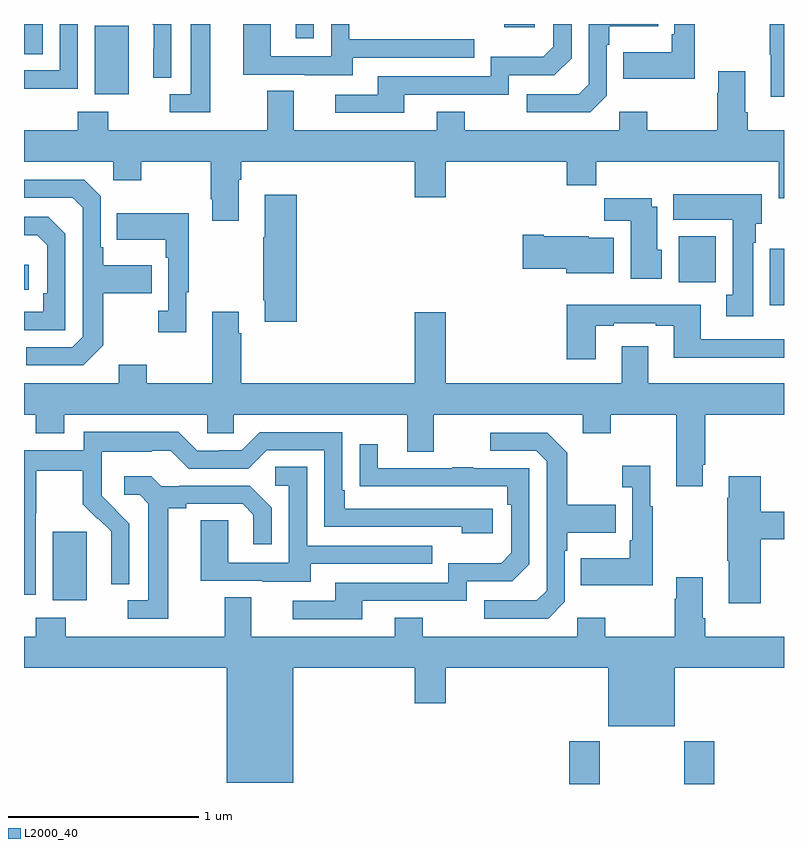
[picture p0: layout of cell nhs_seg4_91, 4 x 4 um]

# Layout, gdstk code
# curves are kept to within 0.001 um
import gdstk
lib = gdstk.Library(unit=1e-6, precision=1e-09)
def R(c, l, rs):  # rectangles x0, y0, x1, y1
    for r in rs: c.add(gdstk.rectangle(r[:2], r[2:], *l))
def P(c, l, *ps):  # polygons
    for p in ps: c.add(gdstk.Polygon(p, *l))
L2000_40 = (2000, 40)

nhs_seg4_91 = lib.new_cell('nhs_seg4_91')
R(nhs_seg4_91, L2000_40, [(117.869,770.9,118.029,771.124), (118.474,770.9,118.634,771.124), (115.151,771.866,115.33,772.227), (118.925,773.42,119,773.716), (115,773.502,115.024,773.632), (118.445,773.54,118.642,773.782), (115.373,774.53,115.552,774.891), (115,774.742,115.099,774.9), (116.429,774.825,116.526,774.9), (117.527,774.884,117.688,774.9)])
P(nhs_seg4_91, L2000_40, [(116.731,774.723),(117.371,774.723),(117.371,774.819),(116.712,774.819),(116.712,774.9),(116.616,774.9),(116.616,774.729),(116.298,774.729),(116.298,774.9),(116.153,774.9),(116.153,774.633),(116.477,774.633),(116.477,774.629),(116.731,774.629)],
  [(118.068,774.522),(118.068,774.791),(118.081,774.791),(118.081,774.887),(118.337,774.887),(118.337,774.9),(117.972,774.9),(117.972,774.582),(117.921,774.531),(117.645,774.531),(117.645,774.435),(117.981,774.435)],
  [(118.531,774.9),(118.422,774.9),(118.422,774.847),(118.41,774.847),(118.41,774.751),(118.153,774.751),(118.153,774.611),(118.531,774.611)],
  [(119,774.9),(118.924,774.9),(118.924,774.739),(118.931,774.739),(118.931,774.516),(119,774.516)],
  [(117.001,774.528),(117.552,774.528),(117.552,774.63),(117.792,774.63),(117.882,774.72),(117.882,774.9),(117.786,774.9),(117.786,774.78),(117.733,774.727),(117.456,774.727),(117.456,774.624),(116.861,774.624),(116.861,774.528),(116.637,774.528),(116.637,774.432),(117.001,774.432)],
  [(115.981,774.9),(115.877,774.9),(115.877,774.531),(115.767,774.531),(115.767,774.435),(115.981,774.435)],
  [(115.284,774.9),(115.188,774.9),(115.188,774.657),(115,774.657),(115,774.559),(115.284,774.559)],
  [(115.776,774.9),(115.675,774.9),(115.682,774.893),(115.682,774.77),(115.68,774.77),(115.68,774.616),(115.776,774.616)],
  [(116.131,774.08),(116.144,774.08),(116.144,774.176),(117.056,774.176),(117.056,773.988),(117.22,773.988),(117.22,774.176),(117.857,774.176),(117.857,774.052),(118.013,774.052),(118.013,774.176),(118.973,774.176),(118.973,773.982),(119,773.982),(119,774.34),(118.808,774.34),(118.808,774.436),(118.795,774.436),(118.795,774.652),(118.655,774.652),(118.655,774.539),(118.648,774.539),(118.648,774.34),(118.281,774.34),(118.281,774.439),(118.134,774.439),(118.134,774.34),(117.321,774.34),(117.321,774.439),(117.173,774.439),(117.173,774.34),(116.419,774.34),(116.419,774.548),(116.279,774.548),(116.279,774.34),(115.443,774.34),(115.443,774.439),(115.283,774.439),(115.283,774.34),(115,774.34),(115,774.176),(115.47,774.176),(115.47,774.077),(115.617,774.077),(115.617,774.176),(115.984,774.176),(115.984,773.977),(115.991,773.977),(115.991,773.865),(116.131,773.865)],
  [(115.417,773.209),(115.417,773.482),(115.673,773.482),(115.673,773.629),(115.417,773.629),(115.417,773.725),(115.404,773.725),(115.404,773.994),(115.317,774.081),(115,774.081),(115,773.985),(115.257,773.985),(115.308,773.934),(115.308,773.253),(115.254,773.199),(115.011,773.199),(115.011,773.103),(115.311,773.103)],
  [(118.837,773.75),(118.852,773.75),(118.852,773.85),(118.882,773.85),(118.882,774.004),(118.418,774.004),(118.418,773.87),(118.73,773.87),(118.73,773.474),(118.697,773.474),(118.697,773.361),(118.837,773.361)],
  [(116.435,774.001),(116.267,774.001),(116.267,773.777),(116.26,773.777),(116.26,773.446),(116.267,773.446),(116.267,773.334),(116.435,773.334)],
  [(118.357,773.712),(118.333,773.712),(118.333,773.938),(118.303,773.938),(118.303,773.983),(118.054,773.983),(118.054,773.864),(118.193,773.864),(118.193,773.558),(118.357,773.558)],
  [(115.855,773.489),(115.867,773.489),(115.867,773.905),(115.489,773.905),(115.489,773.765),(115.746,773.765),(115.746,773.669),(115.758,773.669),(115.758,773.39),(115.707,773.39),(115.707,773.277),(115.855,773.277)],
  [(115.218,773.796),(115.128,773.886),(115,773.886),(115,773.789),(115.069,773.789),(115.122,773.736),(115.122,773.482),(115.102,773.482),(115.102,773.385),(115,773.385),(115,773.289),(115.218,773.289)],
  [(118.105,773.776),(117.972,773.776),(117.972,773.782),(117.736,773.782),(117.736,773.79),(117.624,773.79),(117.624,773.612),(117.854,773.612),(117.854,773.588),(118.105,773.588)],
  [(118.009,773.313),(118.105,773.313),(118.105,773.325),(118.325,773.325),(118.325,773.313),(118.421,773.313),(118.421,773.144),(119,773.144),(119,773.241),(118.561,773.241),(118.561,773.422),(117.857,773.422),(117.857,773.136),(118.009,773.136)],
  [(118.573,772.579),(118.586,772.579),(118.586,772.844),(119,772.844),(119,773.008),(118.285,773.008),(118.285,773.203),(118.145,773.203),(118.145,773.008),(117.22,773.008),(117.22,773.383),(117.056,773.383),(117.056,773.008),(116.144,773.008),(116.144,773.273),(116.131,773.273),(116.131,773.386),(115.991,773.386),(115.991,773.008),(115.647,773.008),(115.647,773.107),(115.499,773.107),(115.499,773.008),(115,773.008),(115,772.844),(115.061,772.844),(115.061,772.745),(115.213,772.745),(115.213,772.844),(115.965,772.844),(115.965,772.746),(116.103,772.746),(116.103,772.844),(117.017,772.844),(117.017,772.65),(117.157,772.65),(117.157,772.844),(117.941,772.844),(117.941,772.745),(118.089,772.745),(118.089,772.844),(118.433,772.844),(118.433,772.467),(118.573,772.467)],
  [(115.062,772.324),(115.065,772.324),(115.065,772.548),(115.309,772.548),(115.309,772.373),(115.386,772.296),(115.389,772.299),(115.46,772.229),(115.46,772.106),(115.458,772.106),(115.458,771.952),(115.554,771.952),(115.554,772.27),(115.408,772.418),(115.408,772.515),(115.41,772.515),(115.41,772.649),(115.673,772.649),(115.673,772.653),(115.773,772.653),(115.866,772.56),(116.181,772.56),(116.277,772.656),(116.58,772.656),(116.58,772.254),(117.305,772.254),(117.305,772.22),(117.466,772.22),(117.466,772.35),(116.689,772.35),(116.689,772.447),(116.676,772.447),(116.676,772.752),(116.241,772.752),(116.145,772.656),(116.027,772.656),(116.027,772.653),(115.911,772.653),(115.811,772.753),(115.314,772.753),(115.314,772.656),(115,772.656),(115,771.895),(115.062,771.895)],
  [(117.846,771.858),(117.846,772.127),(117.859,772.127),(117.859,772.223),(118.115,772.223),(118.115,772.371),(117.859,772.371),(117.859,772.643),(117.753,772.749),(117.453,772.749),(117.453,772.653),(117.696,772.653),(117.75,772.599),(117.75,771.918),(117.699,771.867),(117.423,771.867),(117.423,771.771),(117.759,771.771)],
  [(116.779,771.864),(117.33,771.864),(117.33,771.966),(117.57,771.966),(117.66,772.056),(117.66,772.563),(117.365,772.563),(117.365,772.568),(117.253,772.568),(117.253,772.563),(116.863,772.563),(116.863,772.687),(116.767,772.687),(116.767,772.468),(117.544,772.467),(117.544,772.37),(117.564,772.37),(117.564,772.116),(117.511,772.063),(117.234,772.063),(117.234,771.96),(116.639,771.96),(116.639,771.864),(116.415,771.864),(116.415,771.768),(116.779,771.768)],
  [(118.309,772.363),(118.297,772.363),(118.297,772.576),(118.149,772.576),(118.149,772.463),(118.2,772.463),(118.2,772.183),(118.188,772.183),(118.188,772.087),(117.931,772.087),(117.931,771.947),(118.309,771.947)],
  [(116.509,772.059),(117.149,772.059),(117.149,772.155),(116.49,772.155),(116.49,772.571),(116.322,772.571),(116.322,772.47),(116.394,772.47),(116.394,772.065),(116.076,772.065),(116.076,772.289),(115.931,772.289),(115.931,771.969),(116.255,771.969),(116.255,771.965),(116.509,771.965)],
  [(118.877,772.187),(119,772.187),(119,772.334),(118.877,772.334),(118.877,772.519),(118.709,772.519),(118.709,772.406),(118.702,772.406),(118.702,772.075),(118.709,772.075),(118.709,771.852),(118.877,771.852)],
  [(115.759,772.352),(115.855,772.352),(115.855,772.374),(116.15,772.374),(116.207,772.317),(116.207,772.161),(116.304,772.161),(116.304,772.354),(116.188,772.47),(115.816,772.47),(115.816,772.467),(115.722,772.467),(115.67,772.519),(115.527,772.519),(115.527,772.422),(115.608,772.422),(115.655,772.375),(115.655,771.867),(115.545,771.867),(115.545,771.771),(115.759,771.771)],
  [(116.416,771.512),(117.056,771.512),(117.056,771.324),(117.22,771.324),(117.22,771.512),(118.076,771.512),(118.076,771.203),(118.426,771.203),(118.426,771.512),(119,771.512),(119,771.676),(118.586,771.676),(118.586,771.772),(118.573,771.772),(118.573,771.988),(118.433,771.988),(118.433,771.875),(118.426,771.875),(118.426,771.676),(118.059,771.676),(118.059,771.775),(117.912,771.775),(117.912,771.676),(117.099,771.676),(117.099,771.775),(116.951,771.775),(116.951,771.676),(116.197,771.676),(116.197,771.884),(116.057,771.884),(116.057,771.676),(115.221,771.676),(115.221,771.775),(115.061,771.775),(115.061,771.676),(115,771.676),(115,771.512),(116.066,771.512),(116.066,770.906),(116.416,770.906)])

lib.write_gds('nhs_seg4_91.gds')
